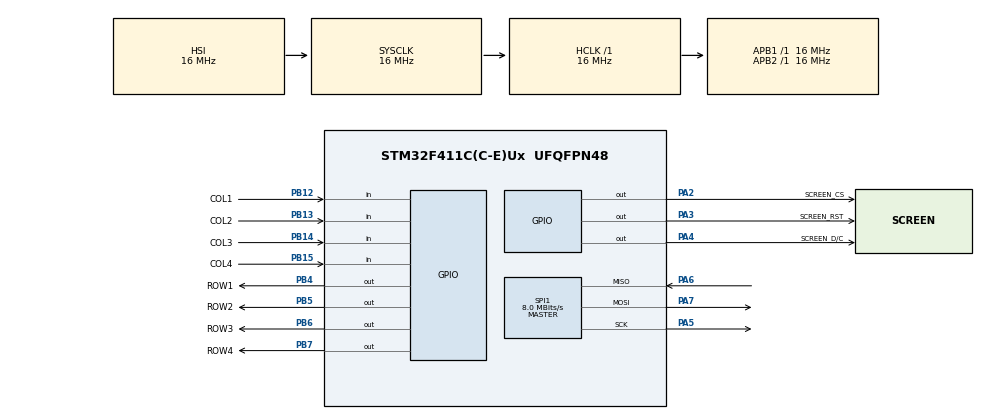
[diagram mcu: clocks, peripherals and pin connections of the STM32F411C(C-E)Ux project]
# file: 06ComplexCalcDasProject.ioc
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Mcu.Family=STM32F4
Mcu.Name=STM32F411C(C-E)Ux
Mcu.Package=UFQFPN48
NVIC.PriorityGroup=NVIC_PRIORITYGROUP_4
PA2.GPIO_Label=SCREEN_CS
PA2.PinState=GPIO_PIN_SET
PA2.Signal=GPIO_Output
PA3.GPIO_Label=SCREEN_RST
PA3.Signal=GPIO_Output
PA4.GPIO_Label=SCREEN_D/C
PA4.Signal=GPIO_Output
PA5.Mode=Full_Duplex_Master
PA5.Signal=SPI1_SCK
PA6.Mode=Full_Duplex_Master
PA6.Signal=SPI1_MISO
PA7.Mode=Full_Duplex_Master
PA7.Signal=SPI1_MOSI
PB12.GPIO_Label=COL1
PB12.Signal=GPIO_Input
PB13.GPIO_Label=COL2
PB13.Signal=GPIO_Input
PB14.GPIO_Label=COL3
PB14.Signal=GPIO_Input
PB15.GPIO_Label=COL4
PB15.Signal=GPIO_Input
PB4.GPIO_Label=ROW1
PB4.Signal=GPIO_Output
PB5.GPIO_Label=ROW2
PB5.Signal=GPIO_Output
PB6.GPIO_Label=ROW3
PB6.Signal=GPIO_Output
PB7.GPIO_Label=ROW4
PB7.Signal=GPIO_Output
ProjectManager.HeapSize=0x200
ProjectManager.StackSize=0x400
ProjectManager.TargetToolchain=CMake
RCC.AHBFreq_Value=16000000
RCC.APB1Freq_Value=16000000
RCC.APB1TimFreq_Value=16000000
RCC.APB2Freq_Value=16000000
RCC.APB2TimFreq_Value=16000000
RCC.CortexFreq_Value=16000000
RCC.HCLKFreq_Value=16000000
RCC.HSE_VALUE=25000000
RCC.HSI_VALUE=16000000
RCC.LSE_VALUE=32768
RCC.SYSCLKFreq_VALUE=16000000
RCC.VCOOutputFreq_Value=192000000
SPI1.CalculateBaudRate=8.0 MBits/s
SPI1.Direction=SPI_DIRECTION_2LINES
SPI1.Mode=SPI_MODE_MASTER
SPI1.VirtualType=VM_MASTER
board=custom

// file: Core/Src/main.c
/* USER CODE BEGIN Header */
/**
  ******************************************************************************
  * @file           : main.c
  * @brief          : Main program body
  ******************************************************************************
  * @attention
  *
  * Copyright (c) 2026 STMicroelectronics.
  * All rights reserved.
  *
  * This software is licensed under terms that can be found in the LICENSE file
  * in the root directory of this software component.
  * If no LICENSE file comes with this software, it is provided AS-IS.
  *
  ******************************************************************************
  */
/* USER CODE END Header */
#include "main.h"

/* USER CODE BEGIN Includes */
#include "TFT_Screen.h"
#include "HALTecMat4x4.h"
#include "fonts.h"
#include "display_ui.h"
#include <stdlib.h>
#include <string.h>
#include "ComplexGJ.h"
/* USER CODE END Includes */

SPI_HandleTypeDef hspi1;

/* USER CODE BEGIN PV */
uint8_t level = 0 ;

// Buffer
#define BUFFER_SIZE 16
uint8_t index_Var = 0;
char buffer[BUFFER_SIZE];
uint8_t navigating = 0;
// Matriz y tama;o de matriz
uint8_t matSize;
cplx A[N_MAX][N_MAX] = {0};
cplx b[N_MAX] = {0};
cplx x[N_MAX] = {0};

// Variables de control de pantalla
uint8_t needsRedraw = 1;
uint8_t editingReal = 1; // 1 = editando real, 0 = editando imaginario
double real = 0.0, imag = 0.0;

/* USER CODE END PV */

void SystemClock_Config(void);
static void MX_GPIO_Init(void);
static void MX_SPI1_Init(void);
/* USER CODE BEGIN PFP */
uint8_t readPad(char *);

/* USER CODE END PFP */

int main(void)
{

  /* MCU Configuration--------------------------------------------------------*/

  /* Reset of all peripherals, Initializes the Flash interface and the Systick. */
  HAL_Init();

  /* Configure the system clock */
  SystemClock_Config();

  /* Initialize all configured peripherals */
  MX_GPIO_Init();
  MX_SPI1_Init();
  /* USER CODE BEGIN 2 */

	char *keypress = NULL;
	char *endptr;
	uint8_t messageReady = 1;
	// Matriz
	uint8_t colMat = 0, rowMat = 0;
	double real, imag = 0.0;
	memset(buffer, 0, sizeof(buffer));
  __HAL_SPI_ENABLE(&hspi1);

    Screen_Init();
    initTheme();
  /* USER CODE END 2 */

  /* Infinite loop */
  while (1)
  {

    /* USER CODE BEGIN 3 */
    switch (level){
    case 0:
        // Dibujar pantalla solo cuando sea necesario
        if(needsRedraw) {
            drawLevel0();
            needsRedraw = 0;
        }

        keypress = gotKey();
        messageReady = readPad(keypress);

        if(messageReady == 0){
            // Actualizar solo el buffer en pantalla

            break;
        }

        // Conversión a entero
        matSize = (uint8_t)strtol(buffer, &endptr, 10);

        if ((endptr == buffer) || (matSize == 0)) {
            level = 0;
            needsRedraw = 1;
        }
        else if(matSize > N_MAX ) matSize = N_MAX;
        else if(matSize<2) matSize = 2;

        if(matSize >= 2 && matSize <= N_MAX) {
        	drawLevel0();

        	memset(buffer, 0, sizeof(buffer));
            index_Var = 0;
            colMat = 0;
            rowMat = 0;
            editingReal = 1;
            level = 1;
            needsRedraw = 1;
        }

        break;

    case 1:
        if(needsRedraw) {
            drawLevel1(colMat, rowMat);
            needsRedraw = 0;
        }

        keypress = gotKey();
        messageReady = readPad(keypress);

		// Si se presionó una tecla pero no es un mensaje completo
		if(messageReady == 2) {
			// Buffer cambió (se agregó/borró un dígito)
			needsRedraw = 1;
			break;
		}

		// Si no hay nada en el buffer, permitir navegación
        if(index_Var == 0 && navigating) {
            switch (*keypress){
                case 'W':
                    if(colMat > 0) colMat--;
                    needsRedraw = 1;
                    break;
                case 'B':
                    if(colMat < matSize - 1) colMat++;
                    needsRedraw = 1;
                    break;
                case 'L':
                    if(rowMat > 0) rowMat--;
                    needsRedraw = 1;
                    break;
                case 'R':
                    if(rowMat < matSize) rowMat++;
                    needsRedraw = 1;
                    break;            }
            break;
        }

        // Si hay mensaje (se presionó un número o tecla especial)
        if(messageReady == 1) {
            if(*keypress == '=') {
                if(editingReal) {
                    // Termina ingreso de parte real, pasa a imaginario
                    if(index_Var > 0) {
                        // Solo guardar si hay datos en el buffer
                        real = strtod(buffer, &endptr);
                        if(rowMat < matSize) A[colMat][rowMat].r = real;
                        else b[colMat].r = real;
                    }
                    memset(buffer, 0, sizeof(buffer));
                    index_Var = 0;
                    editingReal = 0;
                    needsRedraw = 1;
                } else {
                    // Termina ingreso de parte imaginaria, guarda y avanza
                    if(index_Var > 0) {
                        // Solo guardar si hay datos en el buffer
                        imag = strtod(buffer, &endptr);
                        if(rowMat < matSize) A[colMat][rowMat].i = imag;
                        else b[colMat].i = imag;
                    }
                    // Reset y avanzar
                    memset(buffer, 0, sizeof(buffer));
                    index_Var = 0;
                    editingReal = 1;
                    real = 0.0;
                    imag = 0.0;
                    // Avanzar a siguiente celda (por COLUMNAS primero)
                    rowMat++;
                    if(rowMat > matSize) {
                        rowMat = 0;
                        colMat++;
                    }
                    // Si terminamos, ir a resolver
                    if(colMat >= matSize) {
                        level = 2;
                    }
                    needsRedraw = 1;
                }
            } else if(*keypress == 'I') {
                // Tecla I: terminar parte real y pasar a imaginaria
                if(editingReal) {
                    if(index_Var > 0) {
                        real = strtod(buffer, &endptr);
                        if(rowMat < matSize) A[colMat][rowMat].r = real;
                        else b[colMat].r = real;
                    }
                    memset(buffer, 0, sizeof(buffer));
                    index_Var = 0;
                    editingReal = 0;
                    needsRedraw = 1;
                }
            }
        }
        break;

    case 2:
        // Resolver el sistema
        int success = solve_complex_system(matSize, A, b, x);
        drawLevel2(success == 0);

        // Esperar tecla para volver
        messageReady = 0;
        while(!(messageReady)){
            keypress = gotKey();
            messageReady = readPad(keypress);
        }

        // // Reset para nuevo sistema - limpiar matrices
        // memset(A, 0, sizeof(A));
        // memset(b, 0, sizeof(b));
        // memset(x, 0, sizeof(x));
        level = 0;
         matSize = 0;
        colMat = 0;  // Reset matrix position
        rowMat = 0;  // Reset matrix position
        memset(buffer, 0, sizeof(buffer));
        index_Var = 0;
        editingReal = 1;
        needsRedraw = 1;
        break;

		}
  }
  /* USER CODE END 3 */
}

void SystemClock_Config(void)
{
  RCC_OscInitTypeDef RCC_OscInitStruct = {0};
  RCC_ClkInitTypeDef RCC_ClkInitStruct = {0};

  /** Configure the main internal regulator output voltage
  */
  __HAL_RCC_PWR_CLK_ENABLE();
  __HAL_PWR_VOLTAGESCALING_CONFIG(PWR_REGULATOR_VOLTAGE_SCALE1);

  /** Initializes the RCC Oscillators according to the specified parameters
  * in the RCC_OscInitTypeDef structure.
  */
  RCC_OscInitStruct.OscillatorType = RCC_OSCILLATORTYPE_HSI;
  RCC_OscInitStruct.HSIState = RCC_HSI_ON;
  RCC_OscInitStruct.HSICalibrationValue = RCC_HSICALIBRATION_DEFAULT;
  RCC_OscInitStruct.PLL.PLLState = RCC_PLL_NONE;
  if (HAL_RCC_OscConfig(&RCC_OscInitStruct) != HAL_OK)
  {
    Error_Handler();
  }

  /** Initializes the CPU, AHB and APB buses clocks
  */
  RCC_ClkInitStruct.ClockType = RCC_CLOCKTYPE_HCLK|RCC_CLOCKTYPE_SYSCLK
                              |RCC_CLOCKTYPE_PCLK1|RCC_CLOCKTYPE_PCLK2;
  RCC_ClkInitStruct.SYSCLKSource = RCC_SYSCLKSOURCE_HSI;
  RCC_ClkInitStruct.AHBCLKDivider = RCC_SYSCLK_DIV1;
  RCC_ClkInitStruct.APB1CLKDivider = RCC_HCLK_DIV1;
  RCC_ClkInitStruct.APB2CLKDivider = RCC_HCLK_DIV1;

  if (HAL_RCC_ClockConfig(&RCC_ClkInitStruct, FLASH_LATENCY_0) != HAL_OK)
  {
    Error_Handler();
  }
}

static void MX_SPI1_Init(void)
{

  /* SPI1 parameter configuration*/
  hspi1.Instance = SPI1;
  hspi1.Init.Mode = SPI_MODE_MASTER;
  hspi1.Init.Direction = SPI_DIRECTION_2LINES;
  hspi1.Init.DataSize = SPI_DATASIZE_8BIT;
  hspi1.Init.CLKPolarity = SPI_POLARITY_LOW;
  hspi1.Init.CLKPhase = SPI_PHASE_1EDGE;
  hspi1.Init.NSS = SPI_NSS_SOFT;
  hspi1.Init.BaudRatePrescaler = SPI_BAUDRATEPRESCALER_2;
  hspi1.Init.FirstBit = SPI_FIRSTBIT_MSB;
  hspi1.Init.TIMode = SPI_TIMODE_DISABLE;
  hspi1.Init.CRCCalculation = SPI_CRCCALCULATION_DISABLE;
  hspi1.Init.CRCPolynomial = 10;
  if (HAL_SPI_Init(&hspi1) != HAL_OK)
  {
    Error_Handler();
  }

}

static void MX_GPIO_Init(void)
{
  GPIO_InitTypeDef GPIO_InitStruct = {0};

  /* GPIO Ports Clock Enable */
  __HAL_RCC_GPIOA_CLK_ENABLE();
  __HAL_RCC_GPIOB_CLK_ENABLE();

  /*Configure GPIO pin Output Level */
  HAL_GPIO_WritePin(SCREEN_CS_GPIO_Port, SCREEN_CS_Pin, GPIO_PIN_SET);

  /*Configure GPIO pin Output Level */
  HAL_GPIO_WritePin(GPIOA, SCREEN_RST_Pin|SCREEN_D_C_Pin, GPIO_PIN_RESET);

  /*Configure GPIO pin Output Level */
  HAL_GPIO_WritePin(GPIOB, ROW1_Pin|ROW2_Pin|ROW3_Pin|ROW4_Pin, GPIO_PIN_RESET);

  /*Configure GPIO pins : SCREEN_CS_Pin SCREEN_RST_Pin SCREEN_D_C_Pin */
  GPIO_InitStruct.Pin = SCREEN_CS_Pin|SCREEN_RST_Pin|SCREEN_D_C_Pin;
  GPIO_InitStruct.Mode = GPIO_MODE_OUTPUT_PP;
  GPIO_InitStruct.Pull = GPIO_NOPULL;
  GPIO_InitStruct.Speed = GPIO_SPEED_FREQ_LOW;
  HAL_GPIO_Init(GPIOA, &GPIO_InitStruct);

  /*Configure GPIO pins : COL1_Pin COL2_Pin COL3_Pin COL4_Pin */
  GPIO_InitStruct.Pin = COL1_Pin|COL2_Pin|COL3_Pin|COL4_Pin;
  GPIO_InitStruct.Mode = GPIO_MODE_INPUT;
  GPIO_InitStruct.Pull = GPIO_PULLUP;
  HAL_GPIO_Init(GPIOB, &GPIO_InitStruct);

  /*Configure GPIO pins : ROW1_Pin ROW2_Pin ROW3_Pin ROW4_Pin */
  GPIO_InitStruct.Pin = ROW1_Pin|ROW2_Pin|ROW3_Pin|ROW4_Pin;
  GPIO_InitStruct.Mode = GPIO_MODE_OUTPUT_PP;
  GPIO_InitStruct.Pull = GPIO_NOPULL;
  GPIO_InitStruct.Speed = GPIO_SPEED_FREQ_LOW;
  HAL_GPIO_Init(GPIOB, &GPIO_InitStruct);

}

/* USER CODE BEGIN 4 */

uint8_t readPad(char *keypress){

    if (keypress == NULL) return 0;
    char key = *keypress;

    // Handle control keys
    if (key == '=') {
        /*if (level < 2) level++;
        if (level == 2) level--;*/
        return 1;
    }
	if (*keypress == '-') {
    // Only allow '-' as the first character in the buffer
    if (index_Var == 0) {
        buffer[index_Var++] = '-';
        return 2;}
	else return 0; // Ignore if not at start
	}
    if (key == 'T') { // Back
        if (level > 0) level--;
        memset(buffer, 0, sizeof(buffer));
        index_Var = 0;
        return 2;
    }
    if (key == 'D') {
        if (index_Var > 0) { // Backspace
            index_Var--;
            buffer[index_Var] = 0;
        }
        return 2;
    }
    if (key == 'I') {
        return 1;
    }
    if (key == 'F') { // Alt Mode
        navigating ^= 1;
        return 2;
    }
    if (key == 'S'){ // Solve
        level = 2;
        return 2;
    }
    if (key == 'P') {
        toggleTheme(); //Pink Mode
        needsRedraw = 1;
        return 2;
    }

    // Handle numbers and dot
    if ((key >= '0' && key <= '9') || key == '.') {
        if (index_Var < BUFFER_SIZE) {
            buffer[index_Var++] = key;
        }
        return 2;
    }

    // Unknown key
    return 0;
					}

/* USER CODE END 4 */

void Error_Handler(void)
{
  __disable_irq();
  while (1)
  {
  }
}
